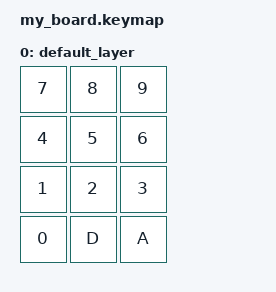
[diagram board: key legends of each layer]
#include <behaviors.dtsi>
#include <dt-bindings/zmk/keys.h>

/ {
    keymap {
        compatible = "zmk,keymap";

        default_layer {
// --------------------------------------------------------------------------------------------------------------------------------------------------------------------
// |   ESC   |    Q    |    W    |    E    |    R    |    T    |                                          |    Y    |    U    |    I    |    O    |    P    |    \    |
// |   TAB   |    A    |    S    |    D    |    F    |    G    |                                          |    H    |    J    |    K    |    L    |    ;    |    '    |
// |  SHIFT  |    Z    |    X    |    C    |    V    |    B    | CTRL+A  | CTRL+C  |  |  CTRL+V |  CTRL+X |    N    |    M    |    ,    |    .    |    /    |  R CTRL |
//                               |   GUI   |   DEL   | RETURN  |  SPACE  | ESCAPE  |  |  RETURN |  SPACE  |   TAB   |   BSPC  |  R ALT  |
            bindings = <
&kp 7    &kp 8    &kp 9
&kp 4    &kp 5    &kp 6
&kp 1    &kp 2    &kp 3
&kp 0    &kp D    &kp A
>;


        };
    };
};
